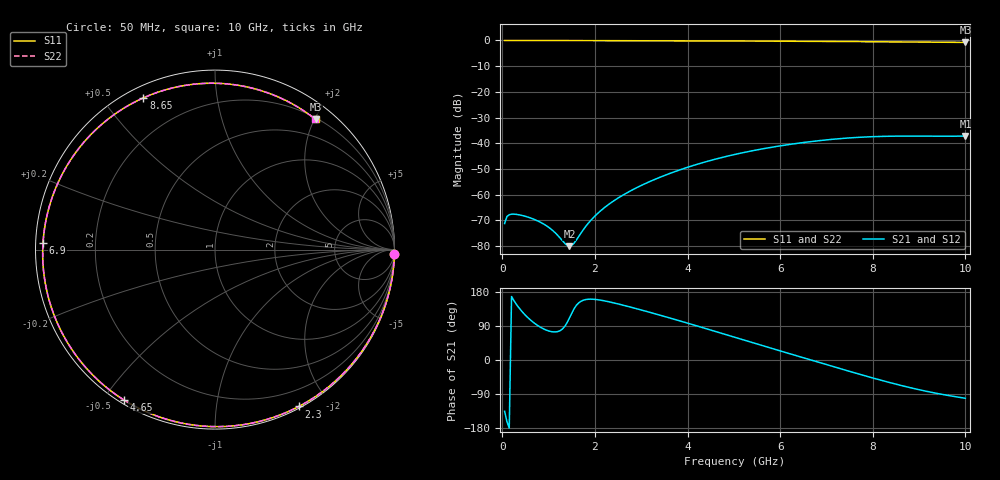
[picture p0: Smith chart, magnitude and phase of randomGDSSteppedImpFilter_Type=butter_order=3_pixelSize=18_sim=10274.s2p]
! freq	dB(S11)	phase(S11)	dB(S12)	phase(S12)
!  dB(S21)	phase(S21)	dB(S22)	phase(S22)
!S-par simulation data
#  GHz  S  DB  R 50
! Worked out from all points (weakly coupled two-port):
!   200 points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, 50 MHz to 10 GHz, reference 50 ohm
!   highest |S21| = -37.21 dB at 10 GHz (marker M1); lowest = -80.1 dB at 1.45 GHz (marker M2)
!   lowest |S11| = -0.8 dB at 10 GHz (marker M3), VSWR 23.00, Z = 11.1 + j101 ohm
!   |S11| at or under -10 dB: nowhere
!   |S22| runs from -0.8 to 0.0 dB; largest |S21 - S12| = 0
!   S11 on the Smith chart (normalised r, x): 50 MHz: 0, -83; 2.3 GHz: 0.02, -1.67; 4.65 GHz: 0.01, -0.56; 6.9 GHz: 0.02, +0.02; 8.65 GHz: 0.05, +0.63; 10 GHz: 0.22, +2.02
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0.05  -0.00 -1.4  -71.26 -135.4  -71.26 -135.4  -0.00 -1.4
0.1  -0.00 -2.8  -68.55 -162.4  -68.55 -162.4  -0.00 -2.8
0.2  -0.00 -5.5  -67.63 167.5  -67.63 167.5  -0.00 -5.5
0.6  -0.02 -16.5  -69.04 106.4  -69.04 106.4  -0.02 -16.5
1  -0.03 -27.4  -72.73 76.7  -72.73 76.7  -0.03 -27.4
1.45  -0.05 -39.4  -80.09 111.0  -80.09 111.0  -0.05 -39.4
1.55  -0.05 -42.1  -78.89 135.4  -78.89 135.4  -0.05 -42.1
1.75  -0.06 -47.4  -73.66 157.8  -73.66 157.8  -0.06 -47.4
2  -0.07 -54.0  -68.36 160.0  -68.36 160.0  -0.07 -54.0
2.3  -0.08 -61.8  -63.79 153.7  -63.79 153.7  -0.08 -61.8
2.8  -0.10 -74.7  -58.26 138.6  -58.26 138.6  -0.10 -74.7
3.4  -0.12 -89.9  -53.30 118.5  -53.30 118.5  -0.12 -89.9
4.65  -0.18 -121.3  -45.99 73.6  -45.99 73.6  -0.18 -121.3
5.05  -0.20 -131.5  -44.26 58.8  -44.26 58.8  -0.20 -131.4
5.9  -0.27 -153.7  -41.33 27.7  -41.33 27.7  -0.27 -153.7
6.7  -0.34 -176.3  -39.30 -1.3  -39.30 -1.3  -0.34 -176.2
6.9  -0.36 177.7  -38.89 -8.5  -38.89 -8.5  -0.36 177.8
7.65  -0.45 153.4  -37.76 -35.3  -37.76 -35.3  -0.45 153.5
8.35  -0.54 127.5  -37.29 -59.0  -37.29 -59.0  -0.54 127.6
8.65  -0.58 115.2  -37.24 -68.4  -37.24 -68.4  -0.58 115.3
9.35  -0.68 84.0  -37.29 -87.3  -37.29 -87.3  -0.68 84.0
10  -0.76 52.3  -37.21 -100.9  -37.21 -100.9  -0.76 52.4
